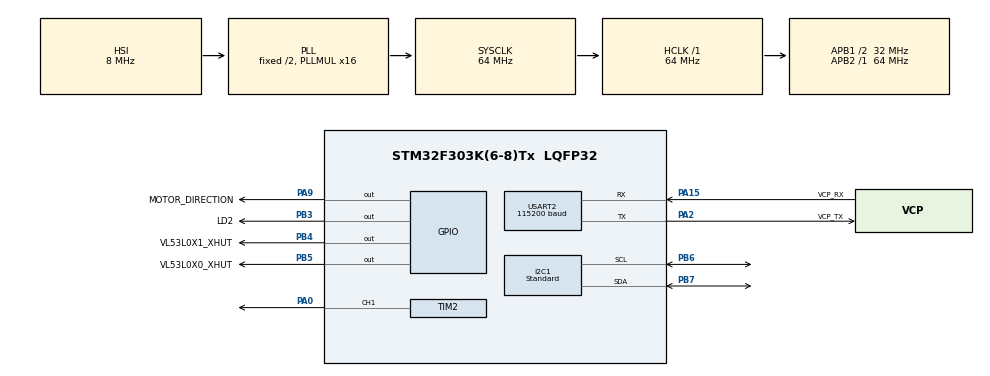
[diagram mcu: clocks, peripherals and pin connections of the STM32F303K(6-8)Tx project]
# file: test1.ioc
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I2C1.I2C_Speed_Mode=I2C_Standard
Mcu.Family=STM32F3
Mcu.Name=STM32F303K(6-8)Tx
Mcu.Package=LQFP32
NVIC.PriorityGroup=NVIC_PRIORITYGROUP_4
PA0.GPIO_PuPd=GPIO_NOPULL
PA0.Signal=S_TIM2_CH1_ETR
PA13.GPIO_Label=SWDIO
PA13.Mode=Serial_Wire
PA13.Signal=SYS_JTMS-SWDIO
PA14.GPIO_Label=SWCLK
PA14.Mode=Serial_Wire
PA14.Signal=SYS_JTCK-SWCLK
PA15.GPIO_Label=VCP_RX
PA15.Mode=Asynchronous
PA15.Signal=USART2_RX
PA2.GPIO_Label=VCP_TX
PA2.Mode=Asynchronous
PA2.Signal=USART2_TX
PA9.GPIO_Label=MOTOR_DIRECTION
PA9.Signal=GPIO_Output
PB3.GPIO_Label=LD2
PB3.Signal=GPIO_Output
PB4.GPIO_Label=VL53L0X1_XHUT
PB4.Signal=GPIO_Output
PB5.GPIO_Label=VL53L0X0_XHUT
PB5.Signal=GPIO_Output
PB6.GPIO_Pu=GPIO_NOPULL
PB6.Mode=I2C
PB6.Signal=I2C1_SCL
PB7.GPIO_Pu=GPIO_NOPULL
PB7.Mode=I2C
PB7.Signal=I2C1_SDA
PF0\ /\ OSC_IN.GPIO_Label=MCO
PF0\ /\ OSC_IN.Mode=HSE-External-Clock-Source
PF0\ /\ OSC_IN.Signal=RCC_OSC_IN
ProjectManager.HeapSize=0x200
ProjectManager.StackSize=0x400
ProjectManager.TargetToolchain=STM32CubeIDE
RCC.AHBFreq_Value=64000000
RCC.APB1CLKDivider=RCC_HCLK_DIV2
RCC.APB1Freq_Value=32000000
RCC.APB1TimFreq_Value=64000000
RCC.APB2Freq_Value=64000000
RCC.APB2TimFreq_Value=64000000
RCC.CortexFreq_Value=64000000
RCC.HCLKFreq_Value=64000000
RCC.HSE_VALUE=8000000
RCC.HSI_VALUE=8000000
RCC.PLLMUL=RCC_PLL_MUL16
RCC.SYSCLKFreq_VALUE=64000000
RCC.SYSCLKSourceVirtual=RCC_SYSCLKSOURCE_PLLCLK
SH.S_TIM2_CH1_ETR.0=TIM2_CH1,PWM Generation1 CH1
TIM2.AutoReloadPreload=TIM_AUTORELOAD_PRELOAD_ENABLE
TIM2.Channel-PWM\ Generation1\ CH1=TIM_CHANNEL_1
TIM2.Period=6400 -1
USART2.BaudRate=115200
USART2.VirtualMode-Asynchronous=VM_ASYNC
VP_TIM2_VS_ClockSourceINT.Mode=Internal
board=NUCLEO-F303K8

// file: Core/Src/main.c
/* USER CODE BEGIN Header */
/**
  ******************************************************************************
  * @file           : main.c
  * @brief          : Main program body
  ******************************************************************************
  * @attention
  *
  * Copyright (c) 2023 STMicroelectronics.
  * All rights reserved.
  *
  * This software is licensed under terms that can be found in the LICENSE file
  * in the root directory of this software component.
  * If no LICENSE file comes with this software, it is provided AS-IS.
  *
  ******************************************************************************
  */
/* USER CODE END Header */
#include "main.h"
#include "i2c.h"
#include "tim.h"
#include "usart.h"
#include "gpio.h"

/* USER CODE BEGIN Includes */
#include "VL53L1X.h"
#include <stdio.h>
#include <string.h>
/* USER CODE END Includes */

/* USER CODE BEGIN PM */

#define SET_PWM_DUTY(duty)((TIM2->CCR1 = (6399U / 100U) * duty))

/* USER CODE END PM */

void SystemClock_Config(void);

int main(void)
{

  /* MCU Configuration--------------------------------------------------------*/

  /* Reset of all peripherals, Initializes the Flash interface and the Systick. */
  HAL_Init();

  /* Configure the system clock */
  SystemClock_Config();

  /* Initialize all configured peripherals */
  MX_GPIO_Init();
  MX_USART2_UART_Init();
  MX_I2C1_Init();
  MX_TIM2_Init();
  /* USER CODE BEGIN 2 */

  // const char testMsg[] = "Hello there!\n";
  // char buff[500] = {0};

  VL53L1X sensor0;
  VL53L1X sensor1;

  TOF_InitStruct(&sensor0, &hi2c1, 0x32, VL53L0X0_XHUT_GPIO_Port, VL53L0X0_XHUT_Pin);
  TOF_InitStruct(&sensor1, &hi2c1, 0x34, VL53L0X1_XHUT_GPIO_Port, VL53L0X1_XHUT_Pin);

  VL53L1X* sensors[] = {&sensor0, &sensor1};
  TOF_BootMultipleSensors(sensors, 2);

  // TOF_TurnOff(&sensor0);
  // TOF_TurnOff(&sensor1);

  // TOF_BootSensor(&sensor0);
  // HAL_Delay(10);
  // TOF_BootSensor(&sensor1);

  uint16_t sensor0_Data = 0;
  uint16_t sensor1_Data = 0;

  HAL_GPIO_WritePin(MOTOR_DIRECTION_GPIO_Port, MOTOR_DIRECTION_Pin, 1);
  // TIM2->CCR1 = 3200;
  HAL_Delay(10);
  HAL_TIM_PWM_Start(&htim2, TIM_CHANNEL_1);

  LOG_INFO("We are starting!\n");
  LOG_ERROR("This is an error!\n");
  LOG_EVENT("This is an event!\n");
  /* USER CODE END 2 */

  /* Infinite loop */
  /* USER CODE BEGIN WHILE */
  while (1)
  {

    // HAL_GPIO_TogglePin(MOTOR_DIRECTION_GPIO_Port, MOTOR_DIRECTION_Pin);

    for (uint32_t i = 0; i < 6400; i += 20)
    {
      TIM2->CCR1 = i;
      HAL_Delay(1);
    }

	  HAL_GPIO_WritePin(LD2_GPIO_Port, LD2_Pin, 1);
    sensor0_Data = TOF_GetDistance(&sensor0);
    HAL_Delay(5);
    sensor1_Data = TOF_GetDistance(&sensor1);
    HAL_GPIO_WritePin(LD2_GPIO_Port, LD2_Pin, 0);

    // snprintf(buff, 500, "Sensor0 measurments: %d,\nSensor1 measurments: %d\n\n", sensor0_Data, sensor1_Data);
    // HAL_UART_Transmit(&huart2, buff, 500, 1000);
    // memset(buff, 0, 500);

    LOG_EVENT("\n   Sensor0 measurments: %d mm,\n   Sensor1 measurments: %d mm\n\n", sensor0_Data, sensor1_Data);
    LOG_EVENT(" TIM2->CCR1 = %d\n", TIM2->CCR1);

	  // HAL_Delay(1000);
    for (uint32_t i = TIM2->CCR1; i > 0; i -= 20)
    {
      TIM2->CCR1 = i;
      HAL_Delay(1);
    }

    // TIM1->CCR1 = 0;
    HAL_Delay(100);

    /* USER CODE END WHILE */

  }
}

void SystemClock_Config(void)
{
  RCC_OscInitTypeDef RCC_OscInitStruct = {0};
  RCC_ClkInitTypeDef RCC_ClkInitStruct = {0};
  RCC_PeriphCLKInitTypeDef PeriphClkInit = {0};

  /** Initializes the RCC Oscillators according to the specified parameters
  * in the RCC_OscInitTypeDef structure.
  */
  RCC_OscInitStruct.OscillatorType = RCC_OSCILLATORTYPE_HSI;
  RCC_OscInitStruct.HSIState = RCC_HSI_ON;
  RCC_OscInitStruct.HSICalibrationValue = RCC_HSICALIBRATION_DEFAULT;
  RCC_OscInitStruct.PLL.PLLState = RCC_PLL_ON;
  RCC_OscInitStruct.PLL.PLLSource = RCC_PLLSOURCE_HSI;
  RCC_OscInitStruct.PLL.PLLMUL = RCC_PLL_MUL16;
  if (HAL_RCC_OscConfig(&RCC_OscInitStruct) != HAL_OK)
  {
    Error_Handler();
  }

  /** Initializes the CPU, AHB and APB buses clocks
  */
  RCC_ClkInitStruct.ClockType = RCC_CLOCKTYPE_HCLK|RCC_CLOCKTYPE_SYSCLK
                              |RCC_CLOCKTYPE_PCLK1|RCC_CLOCKTYPE_PCLK2;
  RCC_ClkInitStruct.SYSCLKSource = RCC_SYSCLKSOURCE_PLLCLK;
  RCC_ClkInitStruct.AHBCLKDivider = RCC_SYSCLK_DIV1;
  RCC_ClkInitStruct.APB1CLKDivider = RCC_HCLK_DIV2;
  RCC_ClkInitStruct.APB2CLKDivider = RCC_HCLK_DIV1;

  if (HAL_RCC_ClockConfig(&RCC_ClkInitStruct, FLASH_LATENCY_2) != HAL_OK)
  {
    Error_Handler();
  }
  PeriphClkInit.PeriphClockSelection = RCC_PERIPHCLK_I2C1;
  PeriphClkInit.I2c1ClockSelection = RCC_I2C1CLKSOURCE_HSI;
  if (HAL_RCCEx_PeriphCLKConfig(&PeriphClkInit) != HAL_OK)
  {
    Error_Handler();
  }
}

void Error_Handler(void)
{
  __disable_irq();
  while (1)
  {
  }
}
